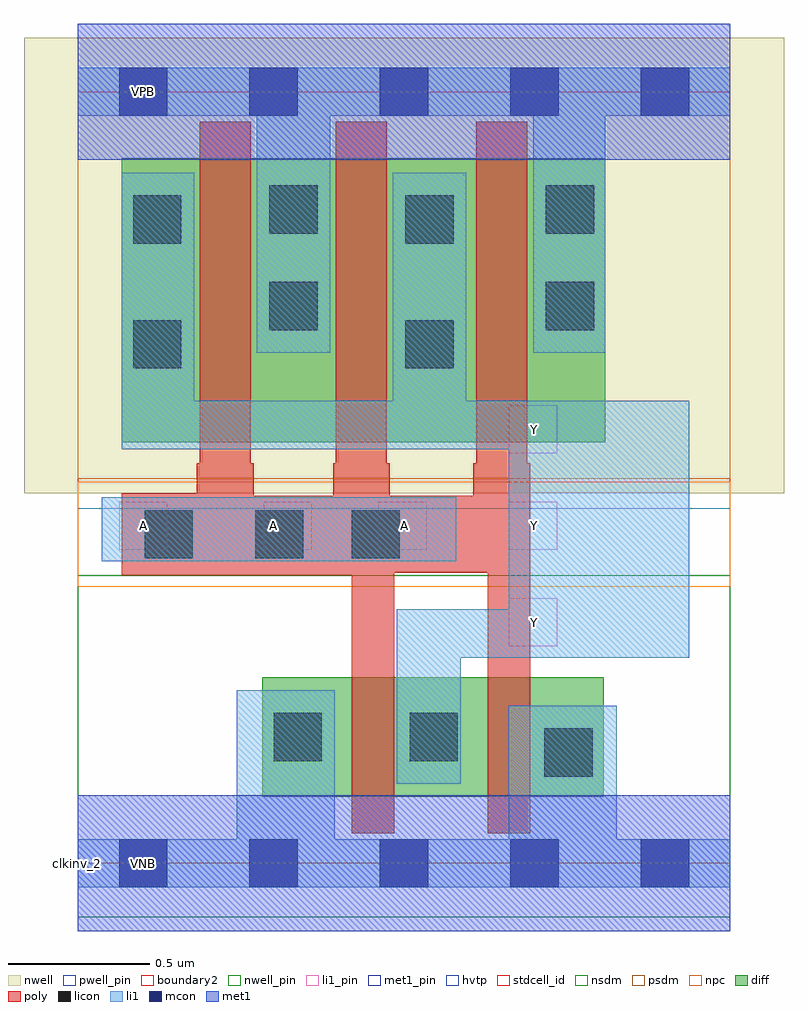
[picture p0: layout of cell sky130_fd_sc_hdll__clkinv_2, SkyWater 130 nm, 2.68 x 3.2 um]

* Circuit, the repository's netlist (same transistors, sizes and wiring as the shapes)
* Copyright 2020 The SkyWater PDK Authors
*
* Licensed under the Apache License, Version 2.0 (the "License");
* you may not use this file except in compliance with the License.
* You may obtain a copy of the License at
*
*     https://www.apache.org/licenses/LICENSE-2.0
*
* Unless required by applicable law or agreed to in writing, software
* distributed under the License is distributed on an "AS IS" BASIS,
* WITHOUT WARRANTIES OR CONDITIONS OF ANY KIND, either express or implied.
* See the License for the specific language governing permissions and
* limitations under the License.
*
* SPDX-License-Identifier: Apache-2.0

.SUBCKT sky130_fd_sc_hdll__clkinv_2 A VGND VNB VPB VPWR Y
*.PININFO A:I VGND:I VNB:I VPB:I VPWR:I Y:O
MMIN0 Y A VGND VNB sky130_fd_pr__nfet_01v8 m=2 w=0.42U l=0.15U mult=1 sa=0.265
+ sb=0.265 sd=0.28 area=0.063 perim=1.14
MMIP0 Y A VPWR VPB sky130_fd_pr__pfet_01v8_hvt m=3 w=1.0U l=0.18U mult=1 sa=0.265
+ sb=0.265 sd=0.28 area=0.063 perim=1.14
.ENDS sky130_fd_sc_hdll__clkinv_2

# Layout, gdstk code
import gdstk
lib = gdstk.Library(unit=1e-6, precision=1e-09)
def R(c, l, rs):  # rectangles x0, y0, x1, y1
    for r in rs: c.add(gdstk.rectangle(r[:2], r[2:], *l))
def A(c, l, x, y, w, h, nx, ny, dx, dy):  # array of equal rectangles
    R(c, l, [(x+i*dx, y+j*dy, x+i*dx+w, y+j*dy+h) for i in range(nx) for j in range(ny)])
def P(c, l, *ps):  # polygons
    for p in ps: c.add(gdstk.Polygon(p, *l))
nwell_pin = (64, 16)
nwell = (64, 20)
diff = (65, 20)
poly = (66, 20)
licon = (66, 44)
li1_pin = (67, 16)
li1 = (67, 20)
mcon = (67, 44)
met1_pin = (68, 16)
met1 = (68, 20)
hvtp = (78, 44)
stdcell_id = (81, 4)
nsdm = (93, 44)
psdm = (94, 20)
npc = (95, 20)
pwell_pin = (122, 16)
boundary2 = (236, 0)

sky130_fd_sc_hdll__clkin = lib.new_cell('sky130_fd_sc_hdll__clkinv_2')
R(sky130_fd_sc_hdll__clkin, nwell_pin, [(0.145,2.635,0.315,2.805)])
R(sky130_fd_sc_hdll__clkin, nwell, [(-0.19,1.305,2.49,2.91)])
R(sky130_fd_sc_hdll__clkin, diff, [(0.65,0.235,1.855,0.655), (0.155,1.485,1.86,2.485)])
P(sky130_fd_sc_hdll__clkin, poly, [(1.595,1.41),(1.585,1.41),(1.585,2.615),(1.405,2.615),(1.405,1.41),(1.395,1.41),(1.395,1.295),(1.1,1.295),(1.1,1.41),(1.09,1.41),(1.09,2.615),(0.91,2.615),(0.91,1.41),(0.9,1.41),(0.9,1.295),(0.62,1.295),(0.62,1.41),(0.61,1.41),(0.61,2.615),(0.43,2.615),(0.43,1.41),(0.42,1.41),(0.42,1.305),(0.155,1.305),(0.155,1.015),(0.965,1.015),(0.965,0.105),(1.115,0.105),(1.115,1.025),(1.445,1.025),(1.445,0.105),(1.595,0.105)])
R(sky130_fd_sc_hdll__clkin, licon, [(1.645,0.305,1.815,0.475), (0.69,0.36,0.86,0.53), (1.17,0.36,1.34,0.53), (0.235,1.075,0.405,1.245), (0.625,1.075,0.795,1.245), (0.965,1.075,1.135,1.245), (0.195,1.745,0.365,1.915), (1.155,1.745,1.325,1.915), (0.675,1.88,0.845,2.05), (1.65,1.88,1.82,2.05), (0.195,2.185,0.365,2.355), (1.155,2.185,1.325,2.355), (0.675,2.22,0.845,2.39), (1.65,2.22,1.82,2.39)])
A(sky130_fd_sc_hdll__clkin, li1_pin, 1.52, 0.765, 0.17, 0.17, 1, 3, 0, 0.34)
R(sky130_fd_sc_hdll__clkin, li1_pin, [(0.145,1.105,0.315,1.275), (0.655,1.105,0.825,1.275), (1.06,1.105,1.23,1.275)])
R(sky130_fd_sc_hdll__clkin, li1, [(0.085,1.065,1.335,1.29)])
P(sky130_fd_sc_hdll__clkin, li1, [(2.155,1.63),(1.37,1.63),(1.37,2.435),(1.11,2.435),(1.11,1.63),(0.41,1.63),(0.41,2.435),(0.155,2.435),(0.155,1.46),(1.52,1.46),(1.52,0.895),(1.125,0.895),(1.125,0.28),(1.35,0.28),(1.35,0.725),(2.155,0.725)],
  [(2.3,0.085),(1.9,0.085),(1.9,0.555),(1.52,0.555),(1.52,0.085),(0.905,0.085),(0.905,0.61),(0.56,0.61),(0.56,0.085),(0,0.085),(0,-0.085),(2.3,-0.085)],
  [(2.3,2.805),(0,2.805),(0,2.635),(0.63,2.635),(0.63,1.8),(0.89,1.8),(0.89,2.635),(1.605,2.635),(1.605,1.8),(1.86,1.8),(1.86,2.635),(2.3,2.635)])
A(sky130_fd_sc_hdll__clkin, mcon, 0.145, -0.085, 0.17, 0.17, 5, 2, 0.46, 2.72)
R(sky130_fd_sc_hdll__clkin, met1_pin, [(0.145,-0.085,0.315,0.085), (0.145,2.635,0.315,2.805)])
R(sky130_fd_sc_hdll__clkin, met1, [(0,-0.24,2.3,0.24), (0,2.48,2.3,2.96)])
R(sky130_fd_sc_hdll__clkin, hvtp, [(0,1.25,2.3,2.72)])
R(sky130_fd_sc_hdll__clkin, stdcell_id, [(0,0,2.3,2.72)])
R(sky130_fd_sc_hdll__clkin, nsdm, [(0,-0.19,2.3,1.015)])
R(sky130_fd_sc_hdll__clkin, psdm, [(0,1.355,2.3,2.91)])
R(sky130_fd_sc_hdll__clkin, npc, [(0,0.975,2.3,1.345)])
R(sky130_fd_sc_hdll__clkin, pwell_pin, [(0.145,-0.085,0.315,0.085)])
R(sky130_fd_sc_hdll__clkin, boundary2, [(0,0,2.3,2.72)])
sky130_fd_sc_hdll__clkin.add(gdstk.Label('Y', (1.61,0.85), layer=67, texttype=5))
sky130_fd_sc_hdll__clkin.add(gdstk.Label('Y', (1.61,1.19), layer=67, texttype=5))
sky130_fd_sc_hdll__clkin.add(gdstk.Label('Y', (1.61,1.53), layer=67, texttype=5))
sky130_fd_sc_hdll__clkin.add(gdstk.Label('A', (1.15,1.19), layer=67, texttype=5))
sky130_fd_sc_hdll__clkin.add(gdstk.Label('A', (0.69,1.19), layer=67, texttype=5))
sky130_fd_sc_hdll__clkin.add(gdstk.Label('A', (0.23,1.19), layer=67, texttype=5))
sky130_fd_sc_hdll__clkin.add(gdstk.Label('VNB', (0.23,0), layer=64, texttype=59))
sky130_fd_sc_hdll__clkin.add(gdstk.Label('VPB', (0.23,2.72), layer=64, texttype=5))
sky130_fd_sc_hdll__clkin.add(gdstk.Label('VPWR', (0.23,2.72), layer=68, texttype=5))
sky130_fd_sc_hdll__clkin.add(gdstk.Label('VGND', (0.23,0), layer=68, texttype=5))
sky130_fd_sc_hdll__clkin.add(gdstk.Label('clkinv_2', (0,0), layer=83, texttype=44))

lib.write_gds('sky130_fd_sc_hdll__clkinv_2.gds')
